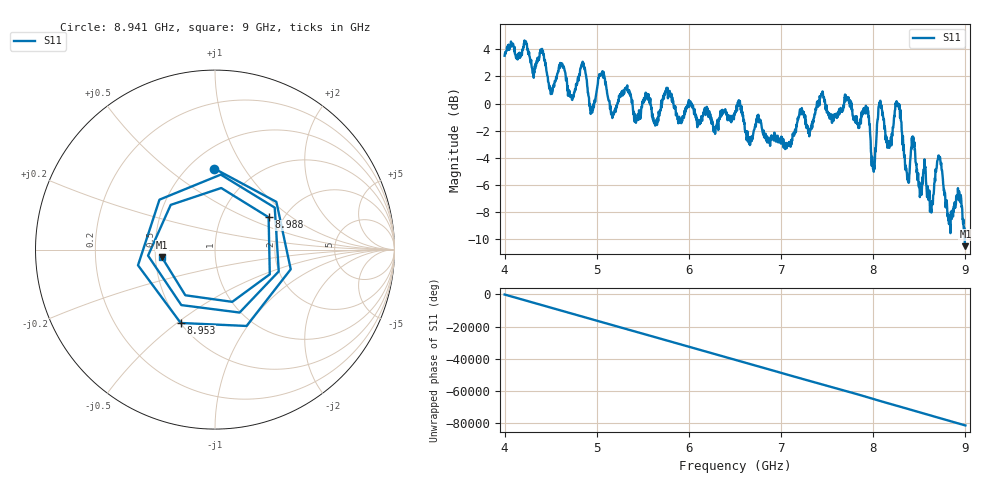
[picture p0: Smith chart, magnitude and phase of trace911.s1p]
! Created with skrf 1.8.0 (http://scikit-rf.org).
# Hz S RI R 50.0
!freq ReS11 ImS11
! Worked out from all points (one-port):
!   1601 points, 4 GHz to 9 GHz, reference 50 ohm
!   lowest |S11| = -10.5 dB at 9 GHz (marker M1), VSWR 1.85, Z = 27.1 - j2.6 ohm
!   |S11| at or under -10 dB: 8.992942 GHz to end of sweep
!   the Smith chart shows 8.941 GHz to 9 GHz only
!   S11 on the Smith chart (normalised r, x): 8.941 GHz: 0.66, +0.75; 8.953 GHz: 0.50, -0.52; 8.988 GHz: 1.68, +0.69; 9 GHz: 0.54, -0.05
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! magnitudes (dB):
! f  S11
! 4 GHz  3.5
! 4.403 GHz  4.0
! 4.506 GHz  0.8
! 4.625 GHz  2.9
! 4.725 GHz  0.5
! 4.856 GHz  3.0
! 4.944 GHz  -0.5
! 5.05 GHz  2.2
! 5.166 GHz  -0.8
! 5.25 GHz  0.5
! 5.875 GHz  -1.1
! 6.5 GHz  -0.7
! 7.125 GHz  -2.3
! 7.75 GHz  0.2
! 7.928 GHz  -0.5
! 8 GHz  -4.8
! 8.072 GHz  -0.1
! 8.172 GHz  -3.2
! 8.262 GHz  -0.2
! 8.375 GHz  -5.4
! 8.431 GHz  -2.7
! 8.622 GHz  -7.4
! 8.712 GHz  -3.8
! 8.828 GHz  -8.2
! 8.941 GHz  -6.9
! 8.953 GHz  -6.9
! 8.988 GHz  -9.1
! 9 GHz  -10.5
